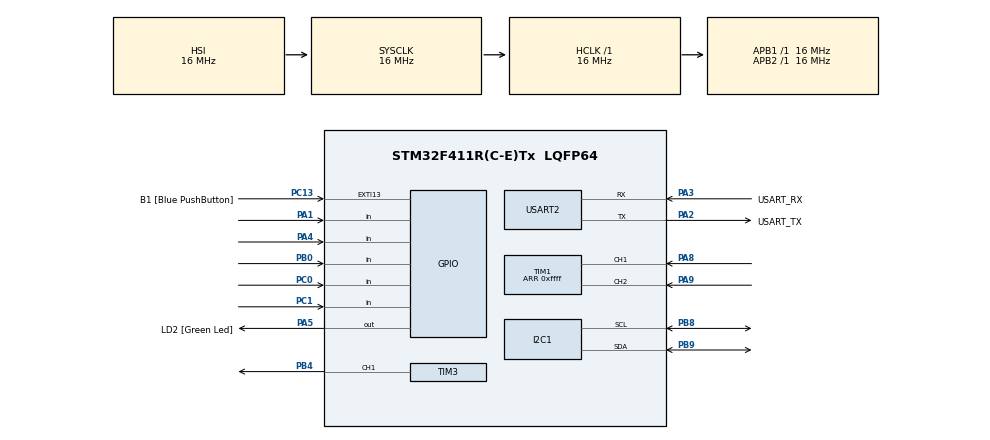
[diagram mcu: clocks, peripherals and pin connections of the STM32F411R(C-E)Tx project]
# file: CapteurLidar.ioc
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I2C1.I2C_Mode=I2C_Fast
Mcu.Family=STM32F4
Mcu.Name=STM32F411R(C-E)Tx
Mcu.Package=LQFP64
NVIC.PriorityGroup=NVIC_PRIORITYGROUP_0
NVIC.TIM3_IRQn=true\:0\:0\:false\:false\:true\:true\:true
PA1.Signal=GPIO_Input
PA13.GPIO_Label=TMS
PA13.Mode=Serial_Wire
PA13.Signal=SYS_JTMS-SWDIO
PA14.GPIO_Label=TCK
PA14.Mode=Serial_Wire
PA14.Signal=SYS_JTCK-SWCLK
PA2.GPIO_Label=USART_TX
PA2.Mode=Asynchronous
PA2.Signal=USART2_TX
PA3.GPIO_Label=USART_RX
PA3.Mode=Asynchronous
PA3.Signal=USART2_RX
PA4.Signal=GPIO_Input
PA5.GPIO_Label=LD2 [Green Led]
PA5.Signal=GPIO_Output
PA8.GPIO_PuPd=GPIO_PULLUP
PA8.Signal=S_TIM1_CH1
PA9.GPIO_PuPd=GPIO_PULLUP
PA9.Signal=S_TIM1_CH2
PB0.Signal=GPIO_Input
PB3.GPIO_Label=SWO
PB3.Signal=SYS_JTDO-SWO
PB4.Signal=S_TIM3_CH1
PB8.Mode=I2C
PB8.Signal=I2C1_SCL
PB9.Mode=I2C
PB9.Signal=I2C1_SDA
PC0.Signal=GPIO_Input
PC1.Signal=GPIO_Input
PC13-ANTI_TAMP.GPIO_Label=B1 [Blue PushButton]
PC13-ANTI_TAMP.GPIO_ModeDefaultEXTI=GPIO_MODE_IT_FALLING
PC13-ANTI_TAMP.Signal=GPXTI13
PC14-OSC32_IN.Mode=LSE-External-Oscillator
PC14-OSC32_IN.Signal=RCC_OSC32_IN
PC15-OSC32_OUT.Mode=LSE-External-Oscillator
PC15-OSC32_OUT.Signal=RCC_OSC32_OUT
PH0\ -\ OSC_IN.Mode=HSE-External-Clock-Source
PH0\ -\ OSC_IN.Signal=RCC_OSC_IN
PH1\ -\ OSC_OUT.Mode=HSE-External-Clock-Source
PH1\ -\ OSC_OUT.Signal=RCC_OSC_OUT
ProjectManager.HeapSize=0x200
ProjectManager.StackSize=0x400
ProjectManager.TargetToolchain=STM32CubeIDE
RCC.48MHZClocksFreq_Value=84000000
RCC.AHBFreq_Value=16000000
RCC.APB1Freq_Value=16000000
RCC.APB1TimFreq_Value=16000000
RCC.APB2Freq_Value=16000000
RCC.APB2TimFreq_Value=16000000
RCC.CortexFreq_Value=16000000
RCC.FLatency-AdvancedSettings=FLASH_LATENCY_0
RCC.HCLKFreq_Value=16000000
RCC.HSE_VALUE=8000000
RCC.HSI_VALUE=16000000
RCC.PLLN=336
RCC.PLLP=RCC_PLLP_DIV4
RCC.SYSCLKFreq_VALUE=16000000
RCC.VCOOutputFreq_Value=336000000
SH.S_TIM1_CH1.0=TIM1_CH1,Encoder_Interface
SH.S_TIM1_CH2.0=TIM1_CH2,Encoder_Interface
SH.S_TIM3_CH1.0=TIM3_CH1,PWM Generation1 CH1
TIM1.IC1Filter=12
TIM1.IC1Prescaler=TIM_ICPSC_DIV1
TIM1.IC2Filter=12
TIM1.IC2Prescaler=TIM_ICPSC_DIV1
TIM1.Period=0xffff
TIM1.TIM_MasterOutputTrigger=TIM_TRGO_OC1
TIM3.Channel-PWM\ Generation1\ CH1=TIM_CHANNEL_1
TIM3.Period=100-1
TIM3.Prescaler=20000-1
USART2.VirtualMode=VM_ASYNC
board=NUCLEO-F411RE

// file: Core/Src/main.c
/* USER CODE BEGIN Header */
/**
  ******************************************************************************
  * @file           : main.c
  * @brief          : Main program body
  ******************************************************************************
  * @attention
  *
  * <h2><center>&copy; Copyright (c) 2020 STMicroelectronics.
  * All rights reserved.</center></h2>
  *
  * This software component is licensed by ST under BSD 3-Clause license,
  * the "License"; You may not use this file except in compliance with the
  * License. You may obtain a copy of the License at:
  *                        opensource.org/licenses/BSD-3-Clause
  *
  ******************************************************************************
  */
/* USER CODE END Header */
#include "main.h"

/* USER CODE BEGIN Includes */
#include "i2c-lcd.h"
#include "i2c-lidar.h"
#include "libBouton.h"
#include "libGlobal.h"

/*----TEST PWM AUTO----*/
double pwm;

/*----Adresse Capteur----*/
uint8_t LIDAR_ADD = 0x62<<1;
uint8_t LCD_ADD = 0x00<<1;
/*----VERIFICATION LIDAR----*/
int isConnected;
/*----DISTANCE RECU----*/
int distance;
/*----MES TROIS BOUTONS DE CHOIX----*/
int buttonDistance;
int buttonVitesse;
int buttonInterface;
int buttonChoix;
int buttonValide;
/*Buffer ou j'envoie mes commandes*/
uint8_t cmd[1];

/*----SECONDE CONDITION CLIC----*/
/*Push distance*/
int onePush;
/*Push vitesse*/
int onePush2;
/*Push interface*/
int onePush3;

/*----POUR LA VEILLE ECRAN----*/
int ecranActif;
int tpsCourant;

/*----POUR LE CHANGEMENT INTERFACE----*/
int nb;

/*----RECUPERATION SIGNAUX MOTEUR----*/
int signal_A;
int signal_B;
int n;
int cpt;
int lastValue = 0;

/* USER CODE END Includes */

I2C_HandleTypeDef hi2c1;

TIM_HandleTypeDef htim1;
TIM_HandleTypeDef htim3;

UART_HandleTypeDef huart2;

/* USER CODE BEGIN PV */
volatile uint32_t tim4_cnt=0, rise = 0;
volatile float freq = 0;
/* USER CODE END PV */

void SystemClock_Config(void);
static void MX_GPIO_Init(void);
static void MX_USART2_UART_Init(void);
static void MX_I2C1_Init(void);
static void MX_TIM3_Init(void);
static void MX_TIM1_Init(void);

int main(void)
{
  /* USER CODE BEGIN 1 */
  buttonDistance = 1;
  buttonVitesse = 1;
  buttonInterface = 1;
  buttonChoix = 1;
  buttonValide = 0;
  /*Buffer ou je recupere mes distances*/
  uint8_t data[2];

  /*----POUR GARDER L'ECRAN ACTIF 10S APRES LE DERNIER CLIC----*/
  /*----S'APPLIQUE UNIQUEMENT A INTERFACE PRINCIPALE----*/
  ecranActif = 0;

  /* USER CODE END 1 */

  /* MCU Configuration--------------------------------------------------------*/

  /* Reset of all peripherals, Initializes the Flash interface and the Systick. */
  HAL_Init();

  /* USER CODE BEGIN Init */
  onePush = 0;
  onePush2 = 0;
  onePush3 = 0;
  /* USER CODE END Init */

  /* Configure the system clock */
  SystemClock_Config();

  /* Initialize all configured peripherals */
  MX_GPIO_Init();
  MX_USART2_UART_Init();
  MX_I2C1_Init();
  MX_TIM3_Init();
  MX_TIM1_Init();
  /* USER CODE BEGIN 2 */
  HAL_TIM_Encoder_Start(&htim1,TIM_CHANNEL_ALL);

  /*----CALCUL FREQUENCE EN Mhz----*/
  HAL_TIM_IC_Start_IT(&htim3, TIM_CHANNEL_1);

  /*-----VERIFICATION CONNECTION LCD ET INIT-----*/
  /*CONNECTED ?*/
  if(lcd_isConnected() == 1)
  {
	  /*CLEAR LCD*/
	  lcd_clear();
	  /*INIT LCD*/
	  lcd_init();
	  HAL_Delay(2000);
	  lcd_clear();

  }
  /*---------FIN DE LA PARTIE SUR LE LCD---------*/

  /*-----INIT PWM POUR CONTROLLEUR MOTEUR-----*/
  //HAL_TIM_PWM_Start(&htim3, TIM_CHANNEL_1);
  /*-----INIT DU CAPTEUR LIDAR-----*/
  lidar_init();
  lcd_maVoiture();
  lcd_clear();

  /* USER CODE END 2 */

  /* Infinite loop */
  /* USER CODE BEGIN WHILE */
  while (1)
  {
	/*----VALEUR DU CAPTEUR DU MOTEUR----*/
	/*----DIVISION PAR 24 CAR ON A 24 MESURES POUR 1 TOUR DU MOTEUR----*/
	/*----IL FAUT 172 TOUR MOTEUR POUR UN TOUR DE L'ARBRE REDUCTEUR----*/
	tim4_cnt = (htim1.Instance->CNT / 24 );

	/*----INIT TEMPS COURANT----*/
	tpsCourant = HAL_GetTick();
	/*if(tpsCourant>=60000)
	{
		htim3.Instance->CCR1 = 0;
		HAL_Delay(5000000);
	}*/
	/*-----INTERFACE PRINCIPALE-----*/
	lcd_Navig();

	//lcd_interfacePrinc(buttonDistance,buttonVitesse,ecranActif);
	/*----VERIFICATION CONNECTION LIDAR----*/
	if(HAL_I2C_IsDeviceReady(&hi2c1,LIDAR_ADD,2,500)== HAL_OK)
	{
	  	isConnected = 1;
	  	cmd[0] = 0x04;
	  	if(HAL_I2C_Mem_Write(&hi2c1,LIDAR_ADD,0x00,1,cmd,1,100) == HAL_OK)
	  	{
	  		//isConnected = 2;
	  		/*Lire les 2 octets venant de 0x8f*/
	  		cmd[0] = 0x8f;
	  		HAL_I2C_Master_Transmit(&hi2c1,LIDAR_ADD,cmd,1,100);
	  		HAL_I2C_Master_Receive(&hi2c1, LIDAR_ADD, data,2,100);
	  		distance =(data[0]<<8)|(data[1]);
	  		/*----ADAPTATION DISTANCE ET VITESSE EN FONCTION DU CHOIX UTILISATEUR----*/
	  		//pwm = modeAuto(distance, boutonDistance(buttonDistance));

	  		adaptVitesseDistance(boutonDistance(buttonDistance) , boutonVitesse(buttonVitesse) );
	  	}
	}else{
		isConnected = -1;
	}

    /* USER CODE END WHILE */

  }
}

void SystemClock_Config(void)
{
  RCC_OscInitTypeDef RCC_OscInitStruct = {0};
  RCC_ClkInitTypeDef RCC_ClkInitStruct = {0};

  /** Configure the main internal regulator output voltage
  */
  __HAL_RCC_PWR_CLK_ENABLE();
  __HAL_PWR_VOLTAGESCALING_CONFIG(PWR_REGULATOR_VOLTAGE_SCALE1);
  /** Initializes the RCC Oscillators according to the specified parameters
  * in the RCC_OscInitTypeDef structure.
  */
  RCC_OscInitStruct.OscillatorType = RCC_OSCILLATORTYPE_HSI;
  RCC_OscInitStruct.HSIState = RCC_HSI_ON;
  RCC_OscInitStruct.HSICalibrationValue = RCC_HSICALIBRATION_DEFAULT;
  RCC_OscInitStruct.PLL.PLLState = RCC_PLL_NONE;
  if (HAL_RCC_OscConfig(&RCC_OscInitStruct) != HAL_OK)
  {
    Error_Handler();
  }
  /** Initializes the CPU, AHB and APB buses clocks
  */
  RCC_ClkInitStruct.ClockType = RCC_CLOCKTYPE_HCLK|RCC_CLOCKTYPE_SYSCLK
                              |RCC_CLOCKTYPE_PCLK1|RCC_CLOCKTYPE_PCLK2;
  RCC_ClkInitStruct.SYSCLKSource = RCC_SYSCLKSOURCE_HSI;
  RCC_ClkInitStruct.AHBCLKDivider = RCC_SYSCLK_DIV1;
  RCC_ClkInitStruct.APB1CLKDivider = RCC_HCLK_DIV1;
  RCC_ClkInitStruct.APB2CLKDivider = RCC_HCLK_DIV1;

  if (HAL_RCC_ClockConfig(&RCC_ClkInitStruct, FLASH_LATENCY_0) != HAL_OK)
  {
    Error_Handler();
  }
}

static void MX_I2C1_Init(void)
{

  hi2c1.Instance = I2C1;
  hi2c1.Init.ClockSpeed = 400000;
  hi2c1.Init.DutyCycle = I2C_DUTYCYCLE_2;
  hi2c1.Init.OwnAddress1 = 0;
  hi2c1.Init.AddressingMode = I2C_ADDRESSINGMODE_7BIT;
  hi2c1.Init.DualAddressMode = I2C_DUALADDRESS_DISABLE;
  hi2c1.Init.OwnAddress2 = 0;
  hi2c1.Init.GeneralCallMode = I2C_GENERALCALL_DISABLE;
  hi2c1.Init.NoStretchMode = I2C_NOSTRETCH_DISABLE;
  if (HAL_I2C_Init(&hi2c1) != HAL_OK)
  {
    Error_Handler();
  }

}

static void MX_TIM1_Init(void)
{

  TIM_Encoder_InitTypeDef sConfig = {0};
  TIM_MasterConfigTypeDef sMasterConfig = {0};

  htim1.Instance = TIM1;
  htim1.Init.Prescaler = 0;
  htim1.Init.CounterMode = TIM_COUNTERMODE_UP;
  htim1.Init.Period = 0xffff;
  htim1.Init.ClockDivision = TIM_CLOCKDIVISION_DIV1;
  htim1.Init.RepetitionCounter = 0;
  htim1.Init.AutoReloadPreload = TIM_AUTORELOAD_PRELOAD_DISABLE;
  sConfig.EncoderMode = TIM_ENCODERMODE_TI1;
  sConfig.IC1Polarity = TIM_ICPOLARITY_RISING;
  sConfig.IC1Selection = TIM_ICSELECTION_DIRECTTI;
  sConfig.IC1Prescaler = TIM_ICPSC_DIV1;
  sConfig.IC1Filter = 12;
  sConfig.IC2Polarity = TIM_ICPOLARITY_RISING;
  sConfig.IC2Selection = TIM_ICSELECTION_DIRECTTI;
  sConfig.IC2Prescaler = TIM_ICPSC_DIV1;
  sConfig.IC2Filter = 12;
  if (HAL_TIM_Encoder_Init(&htim1, &sConfig) != HAL_OK)
  {
    Error_Handler();
  }
  sMasterConfig.MasterOutputTrigger = TIM_TRGO_OC1;
  sMasterConfig.MasterSlaveMode = TIM_MASTERSLAVEMODE_DISABLE;
  if (HAL_TIMEx_MasterConfigSynchronization(&htim1, &sMasterConfig) != HAL_OK)
  {
    Error_Handler();
  }

}

static void MX_TIM3_Init(void)
{

  TIM_MasterConfigTypeDef sMasterConfig = {0};
  TIM_OC_InitTypeDef sConfigOC = {0};

  htim3.Instance = TIM3;
  htim3.Init.Prescaler = 20000-1;
  htim3.Init.CounterMode = TIM_COUNTERMODE_UP;
  htim3.Init.Period = 100-1;
  htim3.Init.ClockDivision = TIM_CLOCKDIVISION_DIV1;
  htim3.Init.AutoReloadPreload = TIM_AUTORELOAD_PRELOAD_DISABLE;
  if (HAL_TIM_PWM_Init(&htim3) != HAL_OK)
  {
    Error_Handler();
  }
  sMasterConfig.MasterOutputTrigger = TIM_TRGO_RESET;
  sMasterConfig.MasterSlaveMode = TIM_MASTERSLAVEMODE_DISABLE;
  if (HAL_TIMEx_MasterConfigSynchronization(&htim3, &sMasterConfig) != HAL_OK)
  {
    Error_Handler();
  }
  sConfigOC.OCMode = TIM_OCMODE_PWM1;
  sConfigOC.Pulse = 0;
  sConfigOC.OCPolarity = TIM_OCPOLARITY_HIGH;
  sConfigOC.OCFastMode = TIM_OCFAST_DISABLE;
  if (HAL_TIM_PWM_ConfigChannel(&htim3, &sConfigOC, TIM_CHANNEL_1) != HAL_OK)
  {
    Error_Handler();
  }
  HAL_TIM_MspPostInit(&htim3);

}

static void MX_USART2_UART_Init(void)
{

  huart2.Instance = USART2;
  huart2.Init.BaudRate = 115200;
  huart2.Init.WordLength = UART_WORDLENGTH_8B;
  huart2.Init.StopBits = UART_STOPBITS_1;
  huart2.Init.Parity = UART_PARITY_NONE;
  huart2.Init.Mode = UART_MODE_TX_RX;
  huart2.Init.HwFlowCtl = UART_HWCONTROL_NONE;
  huart2.Init.OverSampling = UART_OVERSAMPLING_16;
  if (HAL_UART_Init(&huart2) != HAL_OK)
  {
    Error_Handler();
  }

}

static void MX_GPIO_Init(void)
{
  GPIO_InitTypeDef GPIO_InitStruct = {0};

  /* GPIO Ports Clock Enable */
  __HAL_RCC_GPIOC_CLK_ENABLE();
  __HAL_RCC_GPIOH_CLK_ENABLE();
  __HAL_RCC_GPIOA_CLK_ENABLE();
  __HAL_RCC_GPIOB_CLK_ENABLE();

  /*Configure GPIO pin Output Level */
  HAL_GPIO_WritePin(LD2_GPIO_Port, LD2_Pin, GPIO_PIN_RESET);

  /*Configure GPIO pin : B1_Pin */
  GPIO_InitStruct.Pin = B1_Pin;
  GPIO_InitStruct.Mode = GPIO_MODE_IT_FALLING;
  GPIO_InitStruct.Pull = GPIO_NOPULL;
  HAL_GPIO_Init(B1_GPIO_Port, &GPIO_InitStruct);

  /*Configure GPIO pins : PC0 PC1 */
  GPIO_InitStruct.Pin = GPIO_PIN_0|GPIO_PIN_1;
  GPIO_InitStruct.Mode = GPIO_MODE_INPUT;
  GPIO_InitStruct.Pull = GPIO_NOPULL;
  HAL_GPIO_Init(GPIOC, &GPIO_InitStruct);

  /*Configure GPIO pins : PA1 PA4 */
  GPIO_InitStruct.Pin = GPIO_PIN_1|GPIO_PIN_4;
  GPIO_InitStruct.Mode = GPIO_MODE_INPUT;
  GPIO_InitStruct.Pull = GPIO_NOPULL;
  HAL_GPIO_Init(GPIOA, &GPIO_InitStruct);

  /*Configure GPIO pin : LD2_Pin */
  GPIO_InitStruct.Pin = LD2_Pin;
  GPIO_InitStruct.Mode = GPIO_MODE_OUTPUT_PP;
  GPIO_InitStruct.Pull = GPIO_NOPULL;
  GPIO_InitStruct.Speed = GPIO_SPEED_FREQ_LOW;
  HAL_GPIO_Init(LD2_GPIO_Port, &GPIO_InitStruct);

  /*Configure GPIO pin : PB0 */
  GPIO_InitStruct.Pin = GPIO_PIN_0;
  GPIO_InitStruct.Mode = GPIO_MODE_INPUT;
  GPIO_InitStruct.Pull = GPIO_NOPULL;
  HAL_GPIO_Init(GPIOB, &GPIO_InitStruct);

}

void Error_Handler(void)
{
}

/************************ (C) COPYRIGHT STMicroelectronics *****END OF FILE****/
